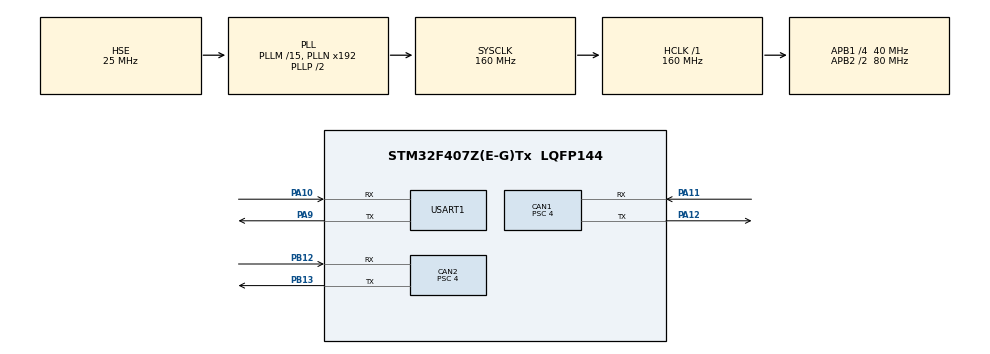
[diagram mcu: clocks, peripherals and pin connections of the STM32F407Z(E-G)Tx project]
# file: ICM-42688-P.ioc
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CAN1.BS1=CAN_BS1_4TQ
CAN1.BS2=CAN_BS2_5TQ
CAN1.CalculateBaudRate=1000000
CAN1.CalculateTimeBit=1000
CAN1.CalculateTimeQuantum=100.0
CAN1.Prescaler=4
CAN2.BS1=CAN_BS1_4TQ
CAN2.BS2=CAN_BS2_5TQ
CAN2.CalculateBaudRate=1000000
CAN2.CalculateTimeBit=1000
CAN2.CalculateTimeQuantum=100.0
CAN2.Prescaler=4
Mcu.Family=STM32F4
Mcu.Name=STM32F407Z(E-G)Tx
Mcu.Package=LQFP144
NVIC.CAN1_RX1_IRQn=true\:0\:0\:false\:false\:true\:true\:true\:true
NVIC.CAN2_RX1_IRQn=true\:0\:0\:false\:false\:true\:true\:true\:true
NVIC.PriorityGroup=NVIC_PRIORITYGROUP_4
NVIC.USART1_IRQn=true\:0\:0\:false\:false\:true\:true\:true\:true
PA10.Mode=Asynchronous
PA10.Signal=USART1_RX
PA11.Mode=CAN_Activate
PA11.Signal=CAN1_RX
PA12.Mode=CAN_Activate
PA12.Signal=CAN1_TX
PA13.Mode=Serial_Wire
PA13.Signal=SYS_JTMS-SWDIO
PA14.Mode=Serial_Wire
PA14.Signal=SYS_JTCK-SWCLK
PA9.Mode=Asynchronous
PA9.Signal=USART1_TX
PB12.Mode=CAN_Activate
PB12.Signal=CAN2_RX
PB13.Mode=CAN_Activate
PB13.Signal=CAN2_TX
PC14-OSC32_IN.Mode=LSE-External-Oscillator
PC14-OSC32_IN.Signal=RCC_OSC32_IN
PC15-OSC32_OUT.Mode=LSE-External-Oscillator
PC15-OSC32_OUT.Signal=RCC_OSC32_OUT
PH0-OSC_IN.Mode=HSE-External-Oscillator
PH0-OSC_IN.Signal=RCC_OSC_IN
PH1-OSC_OUT.Mode=HSE-External-Oscillator
PH1-OSC_OUT.Signal=RCC_OSC_OUT
ProjectManager.HeapSize=0x200
ProjectManager.StackSize=0x400
ProjectManager.TargetToolchain=MDK-ARM V5.32
RCC.48MHZClocksFreq_Value=80000000
RCC.AHBFreq_Value=160000000
RCC.APB1CLKDivider=RCC_HCLK_DIV4
RCC.APB1Freq_Value=40000000
RCC.APB1TimFreq_Value=80000000
RCC.APB2CLKDivider=RCC_HCLK_DIV2
RCC.APB2Freq_Value=80000000
RCC.APB2TimFreq_Value=160000000
RCC.CortexFreq_Value=160000000
RCC.HCLKFreq_Value=160000000
RCC.HSE_VALUE=25000000
RCC.HSI_VALUE=16000000
RCC.PLLM=15
RCC.PLLSourceVirtual=RCC_PLLSOURCE_HSE
RCC.SYSCLKFreq_VALUE=160000000
RCC.SYSCLKSource=RCC_SYSCLKSOURCE_PLLCLK
RCC.VCOOutputFreq_Value=320000000
USART1.VirtualMode=VM_ASYNC
board=custom

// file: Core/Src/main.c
/* USER CODE BEGIN Header */
/**
  ******************************************************************************
  * @file           : main.c
  * @brief          : Main program body
  ******************************************************************************
  * @attention
  *
  * Copyright (c) 2023 STMicroelectronics.
  * All rights reserved.
  *
  * This software is licensed under terms that can be found in the LICENSE file
  * in the root directory of this software component.
  * If no LICENSE file comes with this software, it is provided AS-IS.
  *
  ******************************************************************************
  */
/* USER CODE END Header */
#include "main.h"
#include "can.h"
#include "usart.h"
#include "gpio.h"

/* USER CODE BEGIN Includes */
#include "string.h"
/* USER CODE END Includes */

void SystemClock_Config(void);

/* USER CODE BEGIN 0 */
uint8_t ICM_Feedback_Buf[8];

struct{
	float X_Pos;
		float X_Spd;

		float X_SpdCounter;
		float X_Spd_Temp;
		float Z_Pos;
		float Z_Spd;
		float time_out_counter;
	}Cur_GYRO;

void CAN_Init(CAN_HandleTypeDef *hcan)
{
    CAN_FilterTypeDef sFilterConfig;
    HAL_StatusTypeDef HAL_Status;
    /*这里默认CAN1和CAN2使用不同的FIFO*/
    if (hcan->Instance == hcan1.Instance)
    {
        sFilterConfig.FilterBank = 0;                     //过滤器组
        sFilterConfig.FilterMode = CAN_FILTERMODE_IDMASK; //CAN_FILTERMODE_IDLIST  CAN_FILTERMODE_IDMASK
        sFilterConfig.FilterScale = CAN_FILTERSCALE_32BIT;
        sFilterConfig.FilterIdHigh = 0x0000; //filter id
        sFilterConfig.FilterIdLow = 0x0000;
        sFilterConfig.FilterMaskIdHigh = 0x0000;
        sFilterConfig.FilterMaskIdLow = 0x0000;
        sFilterConfig.FilterFIFOAssignment = CAN_RX_FIFO0; //用FIFO接收
        sFilterConfig.FilterActivation = ENABLE;
        sFilterConfig.SlaveStartFilterBank = 1;

        HAL_CAN_ConfigFilter(hcan, &sFilterConfig);
        HAL_CAN_Start(hcan); //开启CAN
        HAL_Status = HAL_CAN_ActivateNotification(hcan, CAN_IT_RX_FIFO0_MSG_PENDING);
    }
    else if (hcan->Instance == hcan2.Instance)
    {
        sFilterConfig.FilterBank = 15;                    //过滤器组
        sFilterConfig.FilterMode = CAN_FILTERMODE_IDMASK; //CAN_FILTERMODE_IDLIST  CAN_FILTERMODE_IDMASK
        sFilterConfig.FilterScale = CAN_FILTERSCALE_32BIT;
        sFilterConfig.FilterIdHigh = 0x0000; //filter id
        sFilterConfig.FilterIdLow = 0x0000;
        sFilterConfig.FilterMaskIdHigh = 0x0000;
        sFilterConfig.FilterMaskIdLow = 0x0000;
        sFilterConfig.FilterFIFOAssignment = CAN_RX_FIFO1; //用FIFO接收
        sFilterConfig.FilterActivation = ENABLE;
        sFilterConfig.SlaveStartFilterBank = 15;

        HAL_CAN_ConfigFilter(hcan, &sFilterConfig);
        HAL_CAN_Start(hcan); //开启CAN
        HAL_Status = HAL_CAN_ActivateNotification(hcan, CAN_IT_RX_FIFO1_MSG_PENDING);

    }
    if (HAL_Status != HAL_OK)
    {
        Error_Handler();
    }
}

void ICM_Rec(uint8_t motor_id)
{

	uint8_t tmp[4] = {0};
    	/*得到角度 , 右旋为正*/
	    memcpy(tmp,&ICM_Feedback_Buf[0], 4);
			Cur_GYRO.Z_Pos = -*(float *)tmp;

			/*得到角速度 , 右旋为正*/
			memcpy(tmp, &ICM_Feedback_Buf[4], 4);
			Cur_GYRO.Z_Spd = -*(float *)tmp;

}

void ICM_Get_Feedback(uint32_t std_id, uint8_t* data_p)
{

	int i;
	for(i = 0; i < 2; i++)
	{

		if(std_id == 0x351 + i)
		{
			memcpy(ICM_Feedback_Buf, data_p, 8);
			ICM_Rec(i);
			return;
		}
	}
}

void HAL_CAN_RxFifo1MsgPendingCallback(CAN_HandleTypeDef *hcan)

{

  if (hcan->Instance == hcan2.Instance)
  {
    CAN_RxHeaderTypeDef RxMessage;
    uint8_t RxData[8] = {0};
    HAL_CAN_GetRxMessage(hcan, CAN_RX_FIFO1, &RxMessage, RxData);

    if (RxMessage.IDE == CAN_ID_STD) // 标准帧
    {

      if (RxMessage.StdId >= 0x351 && RxMessage.StdId <= 0x352)
			{
			  ICM_Get_Feedback(RxMessage.StdId, RxData);
			}
    }
  }
}
/* USER CODE END 0 */

int main(void)
{

  /* MCU Configuration--------------------------------------------------------*/

  /* Reset of all peripherals, Initializes the Flash interface and the Systick. */
  HAL_Init();

  /* Configure the system clock */
  SystemClock_Config();

  /* Initialize all configured peripherals */
  MX_GPIO_Init();
  MX_CAN1_Init();
  MX_CAN2_Init();
  MX_USART1_UART_Init();
	CAN_Init(&hcan2);
  /* USER CODE BEGIN 2 */
printf("begin");
  /* USER CODE END 2 */

  /* Infinite loop */
  while (1)
  {
   printf("Angle:%f  Angle_acc:%f\n",Cur_GYRO.Z_Pos,Cur_GYRO.Z_Spd);
  }
}

void SystemClock_Config(void)
{
  RCC_OscInitTypeDef RCC_OscInitStruct = {0};
  RCC_ClkInitTypeDef RCC_ClkInitStruct = {0};

  /** Configure the main internal regulator output voltage
  */
  __HAL_RCC_PWR_CLK_ENABLE();
  __HAL_PWR_VOLTAGESCALING_CONFIG(PWR_REGULATOR_VOLTAGE_SCALE1);

  /** Initializes the RCC Oscillators according to the specified parameters
  * in the RCC_OscInitTypeDef structure.
  */
  RCC_OscInitStruct.OscillatorType = RCC_OSCILLATORTYPE_HSE;
  RCC_OscInitStruct.HSEState = RCC_HSE_ON;
  RCC_OscInitStruct.PLL.PLLState = RCC_PLL_ON;
  RCC_OscInitStruct.PLL.PLLSource = RCC_PLLSOURCE_HSE;
  RCC_OscInitStruct.PLL.PLLM = 15;
  RCC_OscInitStruct.PLL.PLLN = 192;
  RCC_OscInitStruct.PLL.PLLP = RCC_PLLP_DIV2;
  RCC_OscInitStruct.PLL.PLLQ = 4;
  if (HAL_RCC_OscConfig(&RCC_OscInitStruct) != HAL_OK)
  {
    Error_Handler();
  }

  /** Initializes the CPU, AHB and APB buses clocks
  */
  RCC_ClkInitStruct.ClockType = RCC_CLOCKTYPE_HCLK|RCC_CLOCKTYPE_SYSCLK
                              |RCC_CLOCKTYPE_PCLK1|RCC_CLOCKTYPE_PCLK2;
  RCC_ClkInitStruct.SYSCLKSource = RCC_SYSCLKSOURCE_PLLCLK;
  RCC_ClkInitStruct.AHBCLKDivider = RCC_SYSCLK_DIV1;
  RCC_ClkInitStruct.APB1CLKDivider = RCC_HCLK_DIV4;
  RCC_ClkInitStruct.APB2CLKDivider = RCC_HCLK_DIV2;

  if (HAL_RCC_ClockConfig(&RCC_ClkInitStruct, FLASH_LATENCY_5) != HAL_OK)
  {
    Error_Handler();
  }
}

void Error_Handler(void)
{
  __disable_irq();
  while (1)
  {
  }
}
